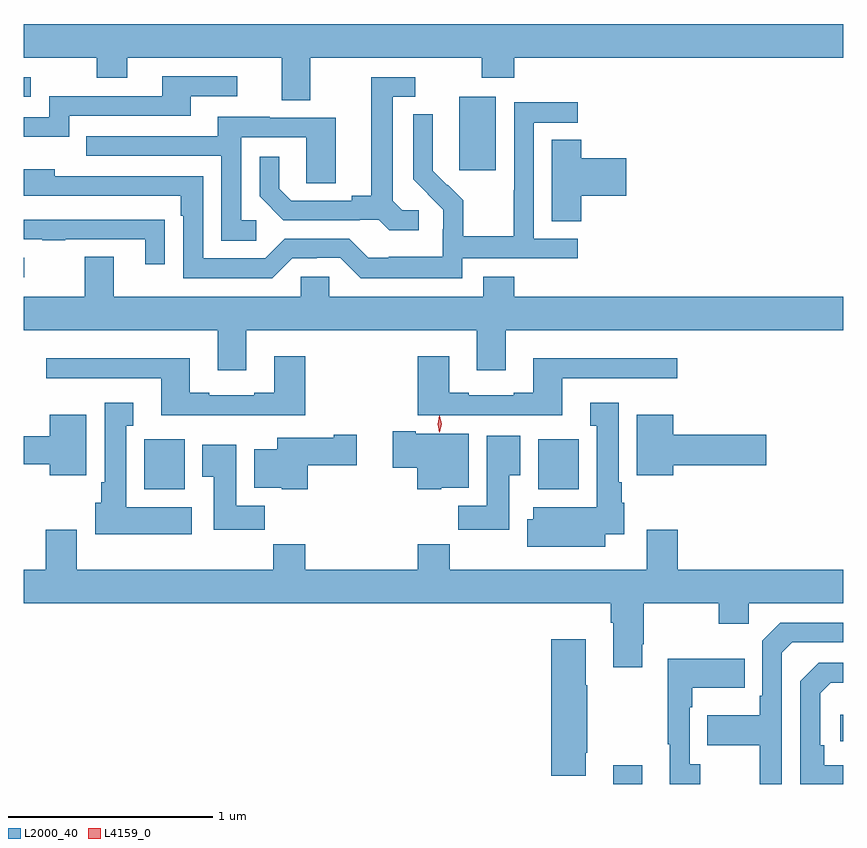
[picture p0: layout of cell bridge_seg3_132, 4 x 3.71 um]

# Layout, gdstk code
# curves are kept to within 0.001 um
import gdstk
lib = gdstk.Library(unit=1e-6, precision=1e-09)
def R(c, l, rs):  # rectangles x0, y0, x1, y1
    for r in rs: c.add(gdstk.rectangle(r[:2], r[2:], *l))
def P(c, l, *ps):  # polygons
    for p in ps: c.add(gdstk.Polygon(p, *l))
L2000_40 = (2000, 40)
L4159_0 = (4159, 0)

bridge_seg3_132 = lib.new_cell('bridge_seg3_132')
R(bridge_seg3_132, L2000_40, [(175.865,674.726,176.005,674.818), (176.973,674.934,176.987,675.064), (173.576,676.166,173.773,676.408), (175.499,676.166,175.696,676.408), (172.987,677.199,172.99,677.295), (175.112,677.721,175.291,678.082), (172.987,678.081,173.02,678.177)])
P(bridge_seg3_132, L2000_40, [(174.385,678.272),(175.222,678.272),(175.222,678.173),(175.382,678.173),(175.382,678.272),(176.987,678.272),(176.987,678.436),(172.987,678.436),(172.987,678.272),(173.344,678.272),(173.344,678.173),(173.491,678.173),(173.491,678.272),(174.245,678.272),(174.245,678.064),(174.385,678.064)],
  [(173.208,677.988),(173.803,677.988),(173.803,678.084),(174.028,678.084),(174.028,678.18),(173.663,678.18),(173.663,678.084),(173.112,678.084),(173.112,677.982),(172.987,677.982),(172.987,677.885),(173.208,677.885)],
  [(174.916,677.526),(174.834,677.526),(174.787,677.573),(174.787,678.081),(174.898,678.081),(174.898,678.177),(174.683,678.177),(174.683,677.597),(174.587,677.597),(174.587,677.574),(174.292,677.574),(174.235,677.631),(174.235,677.788),(174.138,677.788),(174.138,677.594),(174.254,677.478),(174.626,677.478),(174.626,677.481),(174.72,677.481),(174.772,677.429),(174.916,677.429)],
  [(175.128,677.292),(175.69,677.292),(175.69,677.388),(175.476,677.388),(175.476,677.955),(175.69,677.955),(175.69,678.054),(175.38,678.054),(175.38,677.624),(175.378,677.624),(175.378,677.401),(175.133,677.401),(175.133,677.575),(175.056,677.652),(175.053,677.649),(174.983,677.72),(174.984,677.996),(174.888,677.996),(174.888,677.678),(175.034,677.53),(175.034,677.433),(175.032,677.433),(175.032,677.299),(174.769,677.299),(174.769,677.295),(174.669,677.295),(174.576,677.388),(174.261,677.388),(174.165,677.292),(173.862,677.292),(173.862,677.694),(173.138,677.694),(173.138,677.728),(172.987,677.728),(172.987,677.598),(173.753,677.598),(173.753,677.501),(173.766,677.501),(173.766,677.196),(174.201,677.196),(174.297,677.292),(174.416,677.292),(174.416,677.295),(174.531,677.295),(174.631,677.195),(175.128,677.195)],
  [(174.121,677.478),(174.048,677.478),(174.048,677.883),(174.366,677.883),(174.366,677.659),(174.511,677.659),(174.511,677.979),(174.187,677.979),(174.187,677.983),(173.933,677.983),(173.933,677.889),(173.293,677.889),(173.293,677.793),(173.952,677.793),(173.952,677.377),(174.121,677.377)],
  [(175.709,677.597),(175.927,677.597),(175.927,677.78),(175.709,677.78),(175.709,677.87),(175.565,677.87),(175.565,677.473),(175.709,677.473)],
  [(173.675,677.48),(173.573,677.48),(173.573,677.481),(172.987,677.481),(172.987,677.385),(173.077,677.385),(173.077,677.38),(173.189,677.38),(173.189,677.385),(173.579,677.385),(173.579,677.262),(173.675,677.262)],
  [(174.073,676.94),(175.199,676.94),(175.199,676.746),(175.339,676.746),(175.339,676.94),(176.987,676.94),(176.987,677.104),(175.382,677.104),(175.382,677.203),(175.229,677.203),(175.229,677.104),(174.477,677.104),(174.477,677.202),(174.339,677.202),(174.339,677.104),(173.425,677.104),(173.425,677.299),(173.285,677.299),(173.285,677.104),(172.987,677.104),(172.987,676.94),(173.933,676.94),(173.933,676.746),(174.073,676.746)],
  [(174.362,676.813),(174.209,676.813),(174.209,676.636),(174.113,676.636),(174.113,676.623),(173.893,676.623),(173.893,676.636),(173.797,676.636),(173.797,676.804),(173.097,676.804),(173.097,676.707),(173.657,676.707),(173.657,676.526),(174.362,676.526)],
  [(175.615,676.707),(176.176,676.707),(176.176,676.804),(175.475,676.804),(175.475,676.636),(175.379,676.636),(175.379,676.623),(175.159,676.623),(175.159,676.636),(175.063,676.636),(175.063,676.813),(174.911,676.813),(174.911,676.527),(175.615,676.527)],
  [(173.806,676.078),(173.488,676.078),(173.488,676.475),(173.521,676.475),(173.521,676.588),(173.381,676.588),(173.381,676.198),(173.366,676.198),(173.366,676.098),(173.336,676.098),(173.336,675.944),(173.806,675.944)],
  [(175.825,675.944),(175.918,675.944),(175.918,676.098),(175.906,676.098),(175.906,676.198),(175.891,676.198),(175.891,676.588),(175.751,676.588),(175.751,676.475),(175.784,676.475),(175.784,676.078),(175.475,676.078),(175.475,676.019),(175.445,676.019),(175.445,675.884),(175.825,675.884)],
  [(173.293,676.528),(173.114,676.528),(173.114,676.424),(172.987,676.424),(172.987,676.288),(173.114,676.288),(173.114,676.232),(173.293,676.232)],
  [(176.158,676.283),(176.611,676.283),(176.611,676.43),(176.158,676.43),(176.158,676.528),(175.979,676.528),(175.979,676.232),(176.158,676.232)],
  [(175.026,676.172),(175.159,676.172),(175.159,676.435),(174.901,676.435),(174.901,676.447),(174.789,676.447),(174.789,676.27),(174.908,676.27),(174.908,676.166),(175.026,676.166)],
  [(174.372,676.283),(174.613,676.283),(174.613,676.43),(174.5,676.43),(174.5,676.417),(174.224,676.417),(174.224,676.36),(174.113,676.36),(174.113,676.172),(174.246,676.172),(174.246,676.166),(174.372,676.166)],
  [(175.357,676.232),(175.411,676.232),(175.411,676.426),(175.247,676.426),(175.247,676.084),(175.108,676.084),(175.108,675.966),(175.357,675.966)],
  [(174.164,676.084),(174.025,676.084),(174.025,676.381),(173.858,676.381),(173.858,676.225),(173.915,676.225),(173.915,675.966),(174.164,675.966)],
  [(176.18,675.967),(176.027,675.967),(176.027,675.772),(175.067,675.772),(175.067,675.896),(174.911,675.896),(174.911,675.772),(174.362,675.772),(174.362,675.896),(174.205,675.896),(174.205,675.772),(173.245,675.772),(173.245,675.967),(173.093,675.967),(173.093,675.772),(172.987,675.772),(172.987,675.608),(175.853,675.608),(175.853,675.512),(175.865,675.512),(175.865,675.297),(176.005,675.297),(176.005,675.409),(176.013,675.409),(176.013,675.608),(176.38,675.608),(176.38,675.509),(176.526,675.509),(176.526,675.608),(176.987,675.608),(176.987,675.772),(176.18,675.772)],
  [(176.688,675.366),(176.739,675.417),(176.987,675.417),(176.987,675.513),(176.679,675.513),(176.592,675.426),(176.592,675.157),(176.58,675.157),(176.58,675.061),(176.323,675.061),(176.323,674.914),(176.58,674.914),(176.58,674.726),(176.688,674.726)],
  [(175.729,674.878),(175.737,674.878),(175.737,675.209),(175.729,675.209),(175.729,675.433),(175.562,675.433),(175.562,674.766),(175.729,674.766)],
  [(176.29,674.822),(176.238,674.822),(176.238,675.101),(176.251,675.101),(176.251,675.197),(176.507,675.197),(176.507,675.337),(176.13,675.337),(176.13,674.921),(176.141,674.921),(176.141,674.726),(176.29,674.726)],
  [(176.987,674.817),(176.894,674.817),(176.894,674.914),(176.874,674.914),(176.874,675.168),(176.927,675.221),(176.987,675.221),(176.987,675.318),(176.868,675.318),(176.778,675.228),(176.778,674.726),(176.987,674.726)])
P(bridge_seg3_132, L4159_0, [(175.016,676.442),(175.007,676.483),(175.016,676.524),(175.017,676.524),(175.017,676.524),(175.027,676.483),(175.017,676.442),(175.017,676.442)])

lib.write_gds('bridge_seg3_132.gds')
